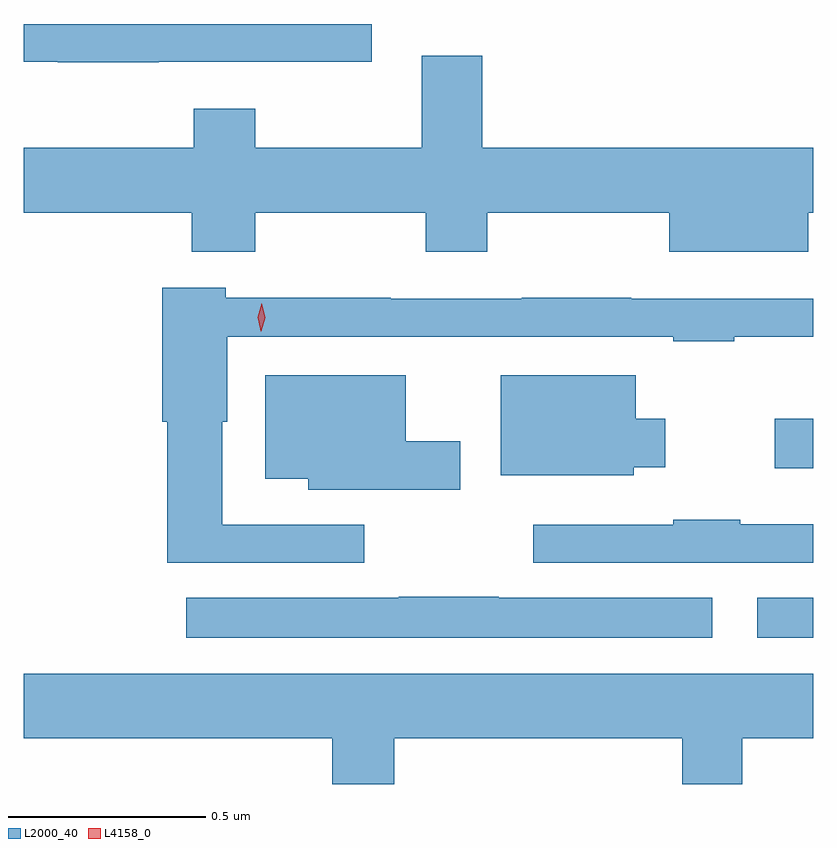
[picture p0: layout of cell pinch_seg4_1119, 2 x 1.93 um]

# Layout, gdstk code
import gdstk
lib = gdstk.Library(unit=1e-6, precision=1e-09)
def R(c, l, rs):  # rectangles x0, y0, x1, y1
    for r in rs: c.add(gdstk.rectangle(r[:2], r[2:], *l))
def P(c, l, *ps):  # polygons
    for p in ps: c.add(gdstk.Polygon(p, *l))
L2000_40 = (2000, 40)
L4158_0 = (4158, 0)

pinch_seg4_1119 = lib.new_cell('pinch_seg4_1119')
R(pinch_seg4_1119, L2000_40, [(531.369,827.711,531.511,827.812), (531.414,828.14,531.511,828.265)])
P(pinch_seg4_1119, L2000_40, [(529.853,829.17),(530.392,829.17),(530.392,829.266),(529.511,829.266),(529.511,829.17),(529.597,829.17),(529.597,829.169),(529.853,829.169)],
  [(530.097,828.788),(530.53,828.788),(530.53,828.689),(530.685,828.689),(530.685,828.788),(531.146,828.788),(531.146,828.689),(531.499,828.689),(531.499,828.788),(531.511,828.788),(531.511,828.952),(530.672,828.952),(530.672,829.186),(530.519,829.186),(530.519,828.952),(530.097,828.952),(530.097,829.051),(529.942,829.051),(529.942,828.952),(529.511,828.952),(529.511,828.788),(529.937,828.788),(529.937,828.689),(530.097,828.689)],
  [(530.374,827.997),(530.014,827.997),(530.014,828.258),(530.026,828.258),(530.026,828.474),(531.157,828.474),(531.157,828.462),(531.311,828.462),(531.311,828.473),(531.464,828.473),(531.464,828.474),(531.511,828.474),(531.511,828.57),(531.05,828.57),(531.05,828.572),(530.773,828.572),(530.773,828.57),(530.441,828.57),(530.441,828.572),(530.022,828.572),(530.022,828.598),(529.861,828.598),(529.861,828.258),(529.874,828.258),(529.874,827.901),(530.374,827.901)],
  [(531.057,828.143),(531.136,828.143),(531.136,828.265),(531.061,828.265),(531.061,828.376),(530.72,828.376),(530.72,828.122),(531.057,828.122)],
  [(530.617,828.208),(530.479,828.208),(530.479,828.376),(530.123,828.376),(530.123,828.113),(530.232,828.113),(530.232,828.086),(530.617,828.086)],
  [(531.511,827.998),(531.326,827.998),(531.326,828.01),(531.157,828.01),(531.157,827.997),(530.802,827.997),(530.802,827.901),(531.511,827.901)],
  [(531.256,827.812),(530.714,827.812),(530.714,827.815),(530.461,827.815),(530.461,827.812),(529.923,827.812),(529.923,827.711),(531.256,827.711)],
  [(530.45,827.456),(531.179,827.456),(531.179,827.34),(531.331,827.34),(531.331,827.456),(531.511,827.456),(531.511,827.62),(529.511,827.62),(529.511,827.456),(530.293,827.456),(530.293,827.34),(530.45,827.34)])
P(pinch_seg4_1119, L4158_0, [(530.111,828.487),(530.111,828.487),(530.103,828.523),(530.114,828.558),(530.114,828.558),(530.114,828.558),(530.123,828.522),(530.112,828.487)])

lib.write_gds('pinch_seg4_1119.gds')
